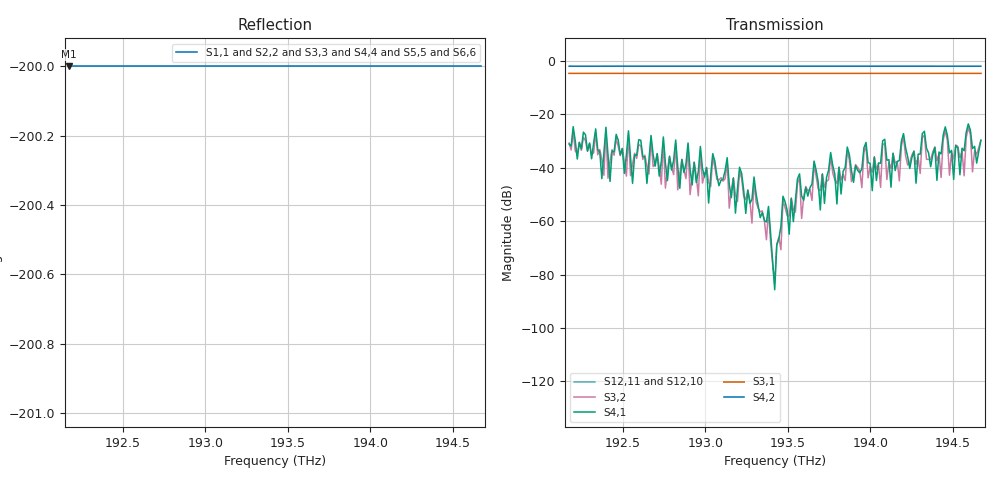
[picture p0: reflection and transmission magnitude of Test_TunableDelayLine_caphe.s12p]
! Touchstone file export by IPKISS
! Luceda port in1: mode 0:0
! Luceda port in2: mode 0:1
! Luceda port out1: mode 0:2
! Luceda port out2: mode 0:3
! Luceda port elec11: mode 0:4
! Luceda port elec12: mode 0:5
! Luceda port elec21: mode 0:6
! Luceda port elec22: mode 0:7
! Luceda port elec31: mode 0:8
! Luceda port elec32: mode 0:9
! Luceda port elec41: mode 0:10
! Luceda port elec42: mode 0:11
# GHz S MA R 50.0
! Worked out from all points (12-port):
!   200 points, 192.17 THz to 194.67 THz, reference 50 ohm
!   strongest paths, dB at 192.17 THz, 192.8 THz, 193.42 THz, 194.05 THz, 194.67 THz:
!     S4,2: -1.9, -1.9, -1.9, -1.9, -1.9
!     S3,1: -4.6, -4.6, -4.6, -4.6, -4.6
!     S4,1: -31.1, -40.8, -85.6, -38.2, -29.7
!     S3,2: -30.7, -39.7, -83.5, -38.7, -29.7
!     S12,11: -, -, -, -, -
!     S12,10: -, -, -, -, -
!   lowest |S11| = - dB at 192.17 THz (marker M1), VSWR 1.00, Z = 50 + j0 ohm
!   |S11| at or under -10 dB: start of sweep to end of sweep
